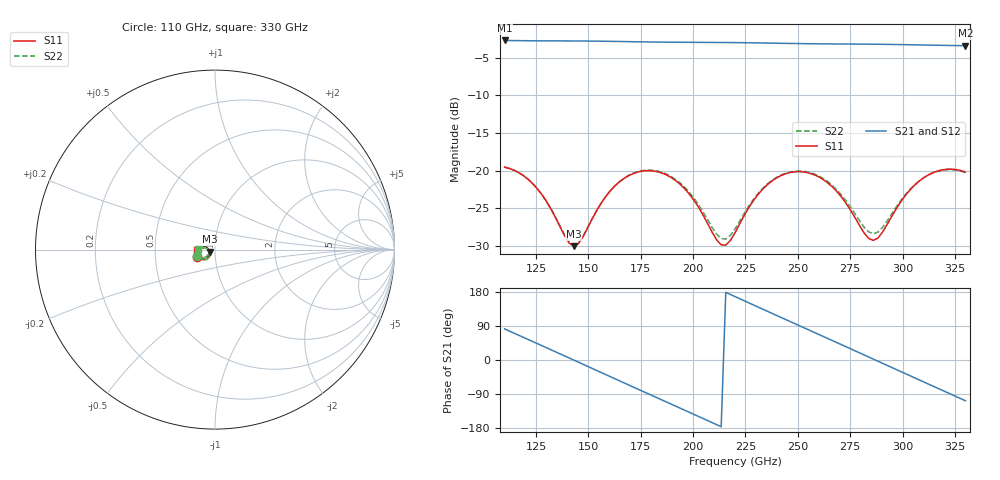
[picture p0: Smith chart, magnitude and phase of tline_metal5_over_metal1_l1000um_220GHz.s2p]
#  GHZ S DB R 50
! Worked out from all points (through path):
!   101 points, 110 GHz to 330 GHz, reference 50 ohm
!   highest |S21| = -2.71 dB at 110 GHz (marker M1); lowest = -3.4 dB at 330 GHz (marker M2)
!   group delay of S21, straight-line fit = 6.94 ps
!   lowest |S11| = -30.0 dB at 143 GHz (marker M3), VSWR 1.07, Z = 47.1 - j1.05 ohm
!   |S11| at or under -10 dB: start of sweep to end of sweep
!   |S22| runs from -29.9 to -19.5 dB; largest |S21 - S12| = 8.3e-14
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110  -19.54 -158.0  -2.71 82.0  -2.71 82.0  -19.54 -158.9
127.6  -23.12 173.3  -2.76 38.3  -2.76 38.3  -23.07 172.9
143  -30.03 -159.3  -2.78 -0.1  -2.78 -0.1  -29.91 -160.0
147.4  -28.80 -138.2  -2.79 -11.2  -2.79 -11.2  -28.73 -139.1
158.4  -23.39 -130.0  -2.82 -38.8  -2.82 -38.8  -23.37 -130.4
167.2  -21.00 -141.5  -2.86 -60.8  -2.86 -60.8  -20.96 -141.6
176  -20.05 -156.6  -2.90 -82.8  -2.90 -82.8  -19.99 -156.4
184.8  -20.28 -172.2  -2.93 -104.7  -2.93 -104.7  -20.19 -171.7
195.8  -22.35 171.1  -2.96 -132.1  -2.96 -132.1  -22.16 172.2
204.6  -25.81 166.3  -2.97 -154.0  -2.97 -154.0  -25.41 168.0
213.4  -29.85 -169.9  -2.98 -176.1  -2.98 -176.1  -29.00 -170.6
220  -28.26 -140.3  -3.00 167.4  -3.00 167.4  -27.74 -144.0
231  -23.16 -135.4  -3.04 139.8  -3.04 139.8  -23.04 -138.1
239.8  -20.97 -146.7  -3.08 117.8  -3.08 117.8  -20.90 -148.6
248.6  -20.15 -161.1  -3.12 95.8  -3.12 95.8  -20.08 -162.4
257.4  -20.50 -175.8  -3.15 73.9  -3.15 73.9  -20.40 -176.5
270.6  -23.42 167.6  -3.18 41.0  -3.18 41.0  -23.16 167.7
283.8  -28.99 -174.7  -3.21 8.0  -3.21 8.0  -28.12 -176.3
288.2  -28.96 -154.4  -3.22 -3.0  -3.22 -3.0  -28.17 -159.0
294.8  -26.09 -137.2  -3.24 -19.6  -3.24 -19.6  -25.75 -142.9
312.4  -20.55 -149.8  -3.33 -63.6  -3.33 -63.6  -20.56 -154.0
330  -20.18 -177.6  -3.40 -107.4  -3.40 -107.4  -20.26 178.6
